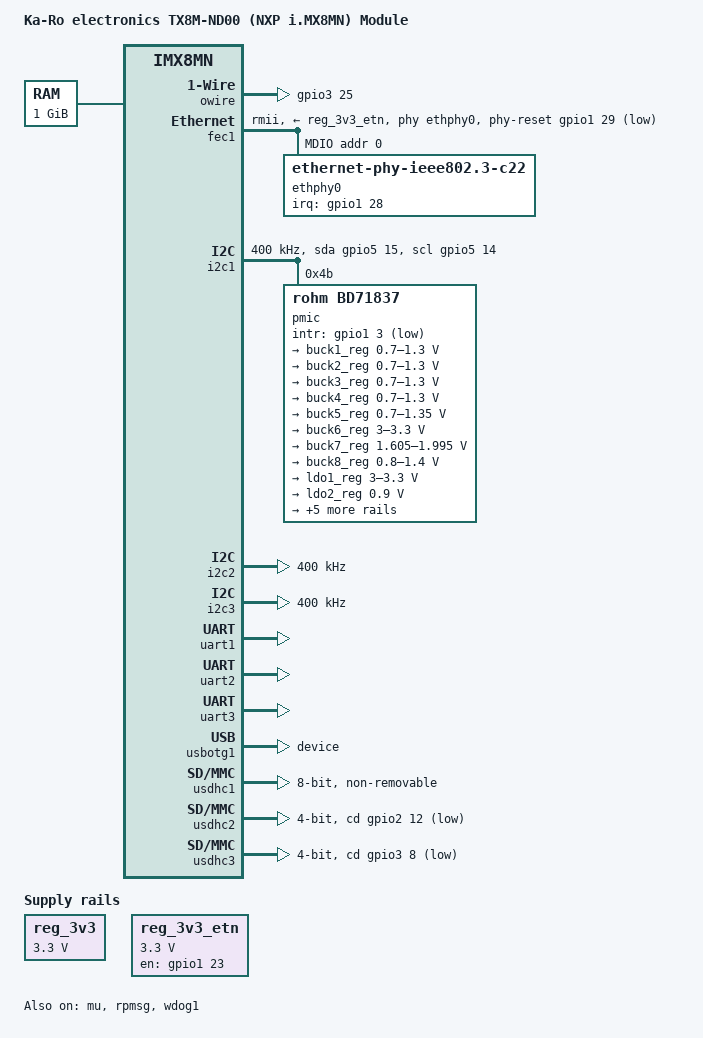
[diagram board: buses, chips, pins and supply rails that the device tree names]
// SPDX-License-Identifier: (GPL-2.0 OR MIT)
/*
 * Copyright (C) 2019 Lothar Waßmann <LW@KARO-electronics.de>
 *
 */

/dts-v1/;

#include "imx8mn.dtsi"
#include <dt-bindings/input/input.h>

/ {
	model = "Ka-Ro electronics TX8M-ND00 (NXP i.MX8MN) Module";
	compatible = "karo,imx8mn-tx8m", "fsl,imx8mn";

	aliases {
		usbotg = &usbotg1;
		i2c0 = &i2c1;
		i2c1 = &i2c2;
		i2c2 = &i2c3;
	};

	chosen {
		bootargs = "console=ttymxc0,115200 earlycon=ec_imx6q,0x30860000,115200";
		stdout-path = &uart1;
	};

	memory@40000000 {
		device_type = "memory";
		reg = <0x0 0x40000000 0 0x40000000>;
	};

	owire {
		compatible = "w1-gpio";
		pinctrl-names = "default";
		pinctrl-0 = <&pinctrl_owire>;
		gpios = <&gpio3 25 GPIO_ACTIVE_HIGH>;
		linux,open-drain;
	};

	reg_3v3: regulator-3v3 {
		compatible = "regulator-fixed";
		regulator-name = "3V3";
		regulator-min-microvolt = <3300000>;
		regulator-max-microvolt = <3300000>;
		regulator-always-on;
		power-supply = <&buck6_reg>;
	};

	reg_3v3_etn: regulator-3v3-etn {
		compatible = "regulator-fixed";
		regulator-name = "3V3_ETN";
		regulator-min-microvolt = <3300000>;
		regulator-max-microvolt = <3300000>;
		pinctrl-names = "default";
		pinctrl-0 = <&pinctrl_etnphy_power>;
		gpio = <&gpio1 23 GPIO_ACTIVE_HIGH>;
		enable-active-high;
		power-supply = <&reg_3v3>;
	};
};

&A53_0 {
	arm-supply = <&buck2_reg>;
	/delete-property/ cpu-idle-states;
};

&A53_1 {
	/delete-property/ cpu-idle-states;
};

&A53_2 {
	/delete-property/ cpu-idle-states;
};

&A53_3 {
	/delete-property/ cpu-idle-states;
};

&fec1 {
	pinctrl-names = "default", "sleep";
	pinctrl-0 = <&pinctrl_fec1 &pinctrl_etnphy_rst>;
	pinctrl-1 = <&pinctrl_fec1_sleep>;
	phy-mode = "rmii";
	phy-handle = <&ethphy0>;
	phy-supply = <&reg_3v3_etn>;
	phy-reset-gpios = <&gpio1 29 GPIO_ACTIVE_LOW>;
	phy-reset-duration = <10>;
	assigned-clock-parents = <&clk IMX8MN_SYS_PLL1_266M>,
				 <&clk IMX8MN_SYS_PLL2_100M>,
				 <&clk IMX8MN_SYS_PLL2_50M>;
	assigned-clock-rates = <0>, <0>, <50000000>, <100000000>;
	status = "okay";

	mdio {
		#address-cells = <1>;
		#size-cells = <0>;

		ethphy0: ethernet-phy@0 {
			compatible = "ethernet-phy-ieee802.3-c22";
			reg = <0>;
			pinctrl-names = "default";
			pinctrl-0 = <&pinctrl_etnphy_int>;
			interrupt-parent = <&gpio1>;
			interrupts = <28 IRQ_TYPE_EDGE_FALLING>;
			smsc,disable-energy-detect;
		};
	};
};

&i2c1 {
	pinctrl-names = "default", "gpio";
	pinctrl-0 = <&pinctrl_i2c1>;
	pinctrl-1 = <&pinctrl_i2c1_gpio>;
	clock-frequency = <400000>;
	scl-gpios = <&gpio5 14 GPIO_ACTIVE_HIGH>;
	sda-gpios = <&gpio5 15 GPIO_ACTIVE_HIGH>;
	status = "okay";

	pmic: bd71837@4b {
		reg = <0x4b>;
		compatible = "rohm,bd71837";
		/* PMIC BD71837 PMIC_nINT GPIO1_IO3 */
		pinctrl-0 = <&pinctrl_pmic>;
		gpio_intr = <&gpio1 3 GPIO_ACTIVE_LOW>;

		gpo {
			rohm,drv = <0x0C>;	/* 0b0000_1100 all gpios with CMOS output mode */
		};

		regulators {
			#address-cells = <1>;
			#size-cells = <0>;

			bd71837,pmic-buck2-uses-i2c-dvs;
			bd71837,pmic-buck2-dvs-voltage = <1000000>, <900000>, <0>; /* VDD_ARM: Run-Idle */

			buck1_reg: regulator@0 {
				reg = <0>;
				regulator-compatible = "buck1";
				regulator-min-microvolt = <700000>;
				regulator-max-microvolt = <1300000>;
				regulator-boot-on;
				regulator-always-on;
				regulator-ramp-delay = <1250>;
			};

			buck2_reg: regulator@1 {
				reg = <1>;
				regulator-compatible = "buck2";
				regulator-min-microvolt = <700000>;
				regulator-max-microvolt = <1300000>;
				regulator-boot-on;
				regulator-always-on;
				regulator-ramp-delay = <1250>;
			};

			buck3_reg: regulator@2 {
				reg = <2>;
				regulator-compatible = "buck3";
				regulator-min-microvolt = <700000>;
				regulator-max-microvolt = <1300000>;
			};

			buck4_reg: regulator@3 {
				reg = <3>;
				regulator-compatible = "buck4";
				regulator-min-microvolt = <700000>;
				regulator-max-microvolt = <1300000>;
			};

			buck5_reg: regulator@4 {
				reg = <4>;
				regulator-compatible = "buck5";
				regulator-min-microvolt = <700000>;
				regulator-max-microvolt = <1350000>;
				regulator-boot-on;
				regulator-always-on;
			};

			buck6_reg: regulator@5 {
				reg = <5>;
				regulator-compatible = "buck6";
				regulator-min-microvolt = <3000000>;
				regulator-max-microvolt = <3300000>;
				regulator-boot-on;
				regulator-always-on;
			};

			buck7_reg: regulator@6 {
				reg = <6>;
				regulator-compatible = "buck7";
				regulator-min-microvolt = <1605000>;
				regulator-max-microvolt = <1995000>;
				regulator-boot-on;
				regulator-always-on;
			};

			buck8_reg: regulator@7 {
				reg = <7>;
				regulator-compatible = "buck8";
				regulator-min-microvolt = <800000>;
				regulator-max-microvolt = <1400000>;
				regulator-boot-on;
				regulator-always-on;
			};

			ldo1_reg: regulator@8 {
				reg = <8>;
				regulator-compatible = "ldo1";
				regulator-min-microvolt = <3000000>;
				regulator-max-microvolt = <3300000>;
				regulator-boot-on;
				regulator-always-on;
			};

			ldo2_reg: regulator@9 {
				reg = <9>;
				regulator-compatible = "ldo2";
				regulator-min-microvolt = <900000>;
				regulator-max-microvolt = <900000>;
				regulator-boot-on;
				regulator-always-on;
			};

			ldo3_reg: regulator@10 {
				reg = <10>;
				regulator-compatible = "ldo3";
				regulator-min-microvolt = <1800000>;
				regulator-max-microvolt = <3300000>;
				regulator-boot-on;
				regulator-always-on;
			};

			ldo4_reg: regulator@11 {
				reg = <11>;
				regulator-compatible = "ldo4";
				regulator-min-microvolt = <900000>;
				regulator-max-microvolt = <1800000>;
				regulator-boot-on;
				regulator-always-on;
			};

			ldo5_reg: regulator@12 {
				reg = <12>;
				regulator-compatible = "ldo5";
				regulator-min-microvolt = <1800000>;
				regulator-max-microvolt = <3300000>;
			};

			ldo6_reg: regulator@13 {
				reg = <13>;
				regulator-compatible = "ldo6";
				regulator-min-microvolt = <900000>;
				regulator-max-microvolt = <1800000>;
				regulator-boot-on;
				regulator-always-on;
			};

			ldo7_reg: regulator@14 {
				reg = <14>;
				regulator-compatible = "ldo7";
				regulator-min-microvolt = <1800000>;
				regulator-max-microvolt = <3300000>;
			};
		};
	};
};

&i2c2 {
	clock-frequency = <400000>;
	pinctrl-names = "default";
	pinctrl-0 = <&pinctrl_i2c2>;
	status = "okay";
};

&i2c3 {
	clock-frequency = <400000>;
	pinctrl-names = "default";
	pinctrl-0 = <&pinctrl_i2c3>;
	status = "okay";
};

&mu {
	status = "okay";
};

&rpmsg {
	/*
	 * 64K for one rpmsg instance:
	 * --0xb8000000~0xb800ffff: pingpong
	 */
	vdev-nums = <1>;
	reg = <0x0 0xb8000000 0x0 0x10000>;
	status = "okay";
};

&uart1 { /* console */
	pinctrl-names = "default";
	pinctrl-0 = <&pinctrl_uart1 &pinctrl_uart1_rtscts>;
	uart-has-rtscts;
	status = "okay";
};

&uart2 {
	pinctrl-names = "default";
	pinctrl-0 = <&pinctrl_uart2 &pinctrl_uart2_rtscts>;
	uart-has-rtscts;
	status = "okay";
};

&uart3 {
	pinctrl-names = "default";
	pinctrl-0 = <&pinctrl_uart3 &pinctrl_uart3_rtscts>;
	uart-has-rtscts;
	status = "okay";
};

&usbotg1 {
	dr_mode = "device";
	status = "okay";
};

&usdhc1 { /* eMMC */
	pinctrl-names = "default";
	pinctrl-0 = <&pinctrl_usdhc1>;
	bus-width = <8>;
	no-1-8-v;
	non-removable;
	status = "okay";
};

&usdhc2 {
	pinctrl-names = "default", "state_100mhz", "state_200mhz";
	pinctrl-0 = <&pinctrl_usdhc2 &pinctrl_usdhc2_cd>;
	pinctrl-1 = <&pinctrl_usdhc2_100mhz &pinctrl_usdhc2_cd>;
	pinctrl-2 = <&pinctrl_usdhc2_200mhz &pinctrl_usdhc2_cd>;
	bus-width = <4>;
	cd-gpios = <&gpio2 12 GPIO_ACTIVE_LOW>;
	no-1-8-v;
	fsl,wp-controller;
	status = "okay";
};

&usdhc3 {
	pinctrl-names = "default", "state_100mhz", "state_200mhz";
	pinctrl-0 = <&pinctrl_usdhc3 &pinctrl_usdhc3_cd>;
	pinctrl-1 = <&pinctrl_usdhc3_100mhz &pinctrl_usdhc3_cd>;
	pinctrl-2 = <&pinctrl_usdhc3_200mhz &pinctrl_usdhc3_cd>;
	bus-width = <4>;
	cd-gpios = <&gpio3 8 GPIO_ACTIVE_LOW>;
	no-1-8-v;
	fsl,wp-controller;
	status = "okay";
};

&wdog1 {
	pinctrl-names = "default";
	status = "okay";
};

&iomuxc {
	pinctrl-names = "default";
	pinctrl-0 = <&pinctrl_hog>;

	pinctrl_hog: hoggrp {
		fsl,pins = <
		>;
	};

	pinctrl_etnphy_int: etnphy-intgrp {
		fsl,pins = <
			MX8MN_IOMUXC_ENET_RD2_GPIO1_IO28		0x90
		>;
	};

	pinctrl_etnphy_power: etnphy-powergrp {
		fsl,pins = <
			MX8MN_IOMUXC_ENET_TXC_GPIO1_IO23		0x142
		>;
	};

	pinctrl_etnphy_rst: etnphy-rstgrp {
		fsl,pins = <
			MX8MN_IOMUXC_ENET_RD3_GPIO1_IO29		0x140
		>;
	};

	pinctrl_fec1: fec1grp {
		fsl,pins = <
			MX8MN_IOMUXC_ENET_MDC_ENET1_MDC			0x142
			MX8MN_IOMUXC_ENET_MDIO_ENET1_MDIO		0x142
			MX8MN_IOMUXC_ENET_TD2_ENET1_TX_CLK		0x40000016
			MX8MN_IOMUXC_ENET_TD0_ENET1_RGMII_TD0		0x16
			MX8MN_IOMUXC_ENET_TD1_ENET1_RGMII_TD1		0x16
			MX8MN_IOMUXC_ENET_RD0_ENET1_RGMII_RD0		0x90
			MX8MN_IOMUXC_ENET_RD1_ENET1_RGMII_RD1		0x90
			MX8MN_IOMUXC_ENET_RXC_ENET1_RX_ER		0x16
			MX8MN_IOMUXC_ENET_RX_CTL_ENET1_RGMII_RX_CTL	0x16
			MX8MN_IOMUXC_ENET_TX_CTL_ENET1_RGMII_TX_CTL	0x16
		>;
	};

	pinctrl_fec1_sleep: fec1-sleepgrp {
		fsl,pins = <
			MX8MN_IOMUXC_ENET_MDC_ENET1_MDC			0x120
			MX8MN_IOMUXC_ENET_MDIO_ENET1_MDIO		0x120
			MX8MN_IOMUXC_ENET_TD2_ENET1_TX_CLK		0x40000120
			MX8MN_IOMUXC_ENET_TD0_ENET1_RGMII_TD0		0x120
			MX8MN_IOMUXC_ENET_TD1_ENET1_RGMII_TD1		0x120
			MX8MN_IOMUXC_ENET_RD0_ENET1_RGMII_RD0		0x120
			MX8MN_IOMUXC_ENET_RD1_ENET1_RGMII_RD1		0x120
			MX8MN_IOMUXC_ENET_RXC_ENET1_RX_ER		0x120
			MX8MN_IOMUXC_ENET_RX_CTL_ENET1_RGMII_RX_CTL	0x120
			MX8MN_IOMUXC_ENET_TX_CTL_ENET1_RGMII_TX_CTL	0x120
		>;
	};

	pinctrl_i2c1: i2c1grp {
		fsl,pins = <
			MX8MN_IOMUXC_I2C1_SCL_I2C1_SCL			0x400001d6
			MX8MN_IOMUXC_I2C1_SDA_I2C1_SDA			0x400001d6
		>;
	};

	pinctrl_i2c1_gpio: i2c1-gpiogrp {
		fsl,pins = <
			MX8MN_IOMUXC_I2C1_SCL_GPIO5_IO14		0x400001d6
			MX8MN_IOMUXC_I2C1_SDA_GPIO5_IO15		0x400001d6
		>;
	};

	pinctrl_i2c2: i2c2grp {
		fsl,pins = <
			MX8MN_IOMUXC_I2C2_SCL_I2C2_SCL			0x400001d6
			MX8MN_IOMUXC_I2C2_SDA_I2C2_SDA			0x400001d6
		>;
	};

	pinctrl_i2c3: i2c3grp {
		fsl,pins = <
			MX8MN_IOMUXC_I2C3_SCL_I2C3_SCL			0x400001d6
			MX8MN_IOMUXC_I2C3_SDA_I2C3_SDA			0x400001d6
		>;
	};

	pinctrl_i2c4: i2c4grp {
		fsl,pins = <
			MX8MN_IOMUXC_I2C4_SCL_I2C4_SCL			0x400001d6
			MX8MN_IOMUXC_I2C4_SDA_I2C4_SDA			0x400001d6
		>;
	};

	pinctrl_owire: owiregrp {
		fsl,pins = <
			MX8MN_IOMUXC_SAI5_MCLK_GPIO3_IO25		0x400001c0
		>;
	};

	pinctrl_pmic: pmicgrp {
		fsl,pins = <
			MX8MN_IOMUXC_GPIO1_IO03_GPIO1_IO3		0x1c0
		>;
	};

	pinctrl_uart1: uart1grp {
		fsl,pins = <
			MX8MN_IOMUXC_UART1_RXD_UART1_DCE_RX		0x140
			MX8MN_IOMUXC_UART1_TXD_UART1_DCE_TX		0x140
		>;
	};

	pinctrl_uart1_rtscts: uart1-rtsctsgrp {
		fsl,pins = <
			MX8MN_IOMUXC_UART3_TXD_UART1_DCE_RTS_B		0x140
			MX8MN_IOMUXC_UART3_RXD_UART1_DCE_CTS_B		0x140
		>;
	};

	pinctrl_uart2: uart2grp {
		fsl,pins = <
			MX8MN_IOMUXC_UART2_RXD_UART2_DCE_RX		0x140
			MX8MN_IOMUXC_UART2_TXD_UART2_DCE_TX		0x140
		>;
	};

	pinctrl_uart2_rtscts: uart2-rtsctsgrp {
		fsl,pins = <
			MX8MN_IOMUXC_UART4_TXD_UART2_DCE_RTS_B		0x140
			MX8MN_IOMUXC_UART4_RXD_UART2_DCE_CTS_B		0x140
		>;
	};

	pinctrl_uart3: uart3grp {
		fsl,pins = <
			MX8MN_IOMUXC_ECSPI1_SCLK_UART3_DCE_RX		0x140
			MX8MN_IOMUXC_ECSPI1_MOSI_UART3_DCE_TX		0x140
		>;
	};

	pinctrl_uart3_rtscts: uart3-rtsctsgrp {
		fsl,pins = <
			MX8MN_IOMUXC_ECSPI1_SS0_UART3_DCE_RTS_B		0x140
			MX8MN_IOMUXC_ECSPI1_MISO_UART3_DCE_CTS_B	0x140
		>;
	};

	pinctrl_usdhc1: usdhc1grp {
		fsl,pins = <
			MX8MN_IOMUXC_SD1_CLK_USDHC1_CLK			0x110
			MX8MN_IOMUXC_SD1_CMD_USDHC1_CMD			0x150
			MX8MN_IOMUXC_SD1_DATA0_USDHC1_DATA0		0x150
			MX8MN_IOMUXC_SD1_DATA1_USDHC1_DATA1		0x150
			MX8MN_IOMUXC_SD1_DATA2_USDHC1_DATA2		0x150
			MX8MN_IOMUXC_SD1_DATA3_USDHC1_DATA3		0x150
			MX8MN_IOMUXC_SD1_DATA4_USDHC1_DATA4		0x150
			MX8MN_IOMUXC_SD1_DATA5_USDHC1_DATA5		0x150
			MX8MN_IOMUXC_SD1_DATA6_USDHC1_DATA6		0x150
			MX8MN_IOMUXC_SD1_DATA7_USDHC1_DATA7		0x150
			MX8MN_IOMUXC_SD1_STROBE_USDHC1_STROBE		0x156
			MX8MN_IOMUXC_SD1_RESET_B_USDHC1_RESET_B		0x156
		>;
	};

	pinctrl_usdhc2: usdhc2grp {
		fsl,pins = <
			MX8MN_IOMUXC_SD2_CLK_USDHC2_CLK			0x110
			MX8MN_IOMUXC_SD2_CMD_USDHC2_CMD			0x150
			MX8MN_IOMUXC_SD2_DATA0_USDHC2_DATA0		0x150
			MX8MN_IOMUXC_SD2_DATA1_USDHC2_DATA1		0x150
			MX8MN_IOMUXC_SD2_DATA2_USDHC2_DATA2		0x150
			MX8MN_IOMUXC_SD2_DATA3_USDHC2_DATA3		0x150
		>;
	};

	pinctrl_usdhc2_100mhz: usdhc2grp100mhz {
		fsl,pins = <
			MX8MN_IOMUXC_SD2_CLK_USDHC2_CLK			0x114
			MX8MN_IOMUXC_SD2_CMD_USDHC2_CMD			0x154
			MX8MN_IOMUXC_SD2_DATA0_USDHC2_DATA0		0x154
			MX8MN_IOMUXC_SD2_DATA1_USDHC2_DATA1		0x154
			MX8MN_IOMUXC_SD2_DATA2_USDHC2_DATA2		0x154
			MX8MN_IOMUXC_SD2_DATA3_USDHC2_DATA3		0x154
		>;
	};

	pinctrl_usdhc2_200mhz: usdhc2grp200mhz {
		fsl,pins = <
			MX8MN_IOMUXC_SD2_CLK_USDHC2_CLK			0x116
			MX8MN_IOMUXC_SD2_CMD_USDHC2_CMD			0x156
			MX8MN_IOMUXC_SD2_DATA0_USDHC2_DATA0		0x156
			MX8MN_IOMUXC_SD2_DATA1_USDHC2_DATA1		0x156
			MX8MN_IOMUXC_SD2_DATA2_USDHC2_DATA2		0x156
			MX8MN_IOMUXC_SD2_DATA3_USDHC2_DATA3		0x156
		>;
	};

	pinctrl_usdhc2_cd: usdhc2-cdgrp {
		fsl,pins = <
			MX8MN_IOMUXC_SD2_CD_B_GPIO2_IO12		0x1c0
		>;
	};

	pinctrl_usdhc3: usdhc3grp {
		fsl,pins = <
			/*
			 * Erratum e11341: SION must be asserted on NAND_WE_B
			 * when used as SDHC3_CLK
			 */
			MX8MN_IOMUXC_NAND_WE_B_USDHC3_CLK		0x40000190
			MX8MN_IOMUXC_NAND_WP_B_USDHC3_CMD		0x1d0
			MX8MN_IOMUXC_NAND_DATA04_USDHC3_DATA0		0x1d0
			MX8MN_IOMUXC_NAND_DATA05_USDHC3_DATA1		0x1d0
			MX8MN_IOMUXC_NAND_DATA06_USDHC3_DATA2		0x1d0
			MX8MN_IOMUXC_NAND_DATA07_USDHC3_DATA3		0x1d0
		>;
	};

	pinctrl_usdhc3_100mhz: usdhc3grp100mhz {
		fsl,pins = <
			MX8MN_IOMUXC_NAND_WE_B_USDHC3_CLK		0x40000194
			MX8MN_IOMUXC_NAND_WP_B_USDHC3_CMD		0x1d4
			MX8MN_IOMUXC_NAND_DATA04_USDHC3_DATA0		0x1d4
			MX8MN_IOMUXC_NAND_DATA05_USDHC3_DATA1		0x1d4
			MX8MN_IOMUXC_NAND_DATA06_USDHC3_DATA2		0x1d4
			MX8MN_IOMUXC_NAND_DATA07_USDHC3_DATA3		0x1d4
		>;
	};

	pinctrl_usdhc3_200mhz: usdhc3grp200mhz {
		fsl,pins = <
			MX8MN_IOMUXC_NAND_WE_B_USDHC3_CLK		0x40000196
			MX8MN_IOMUXC_NAND_WP_B_USDHC3_CMD		0x1d6
			MX8MN_IOMUXC_NAND_DATA04_USDHC3_DATA0		0x1d6
			MX8MN_IOMUXC_NAND_DATA05_USDHC3_DATA1		0x1d6
			MX8MN_IOMUXC_NAND_DATA06_USDHC3_DATA2		0x1d6
			MX8MN_IOMUXC_NAND_DATA07_USDHC3_DATA3		0x1d6
		>;
	};

	pinctrl_usdhc3_cd: usdhc3-cdgrp {
		fsl,pins = <
			MX8MN_IOMUXC_NAND_DATA02_GPIO3_IO8		0x1c0
		>;
	};
};
